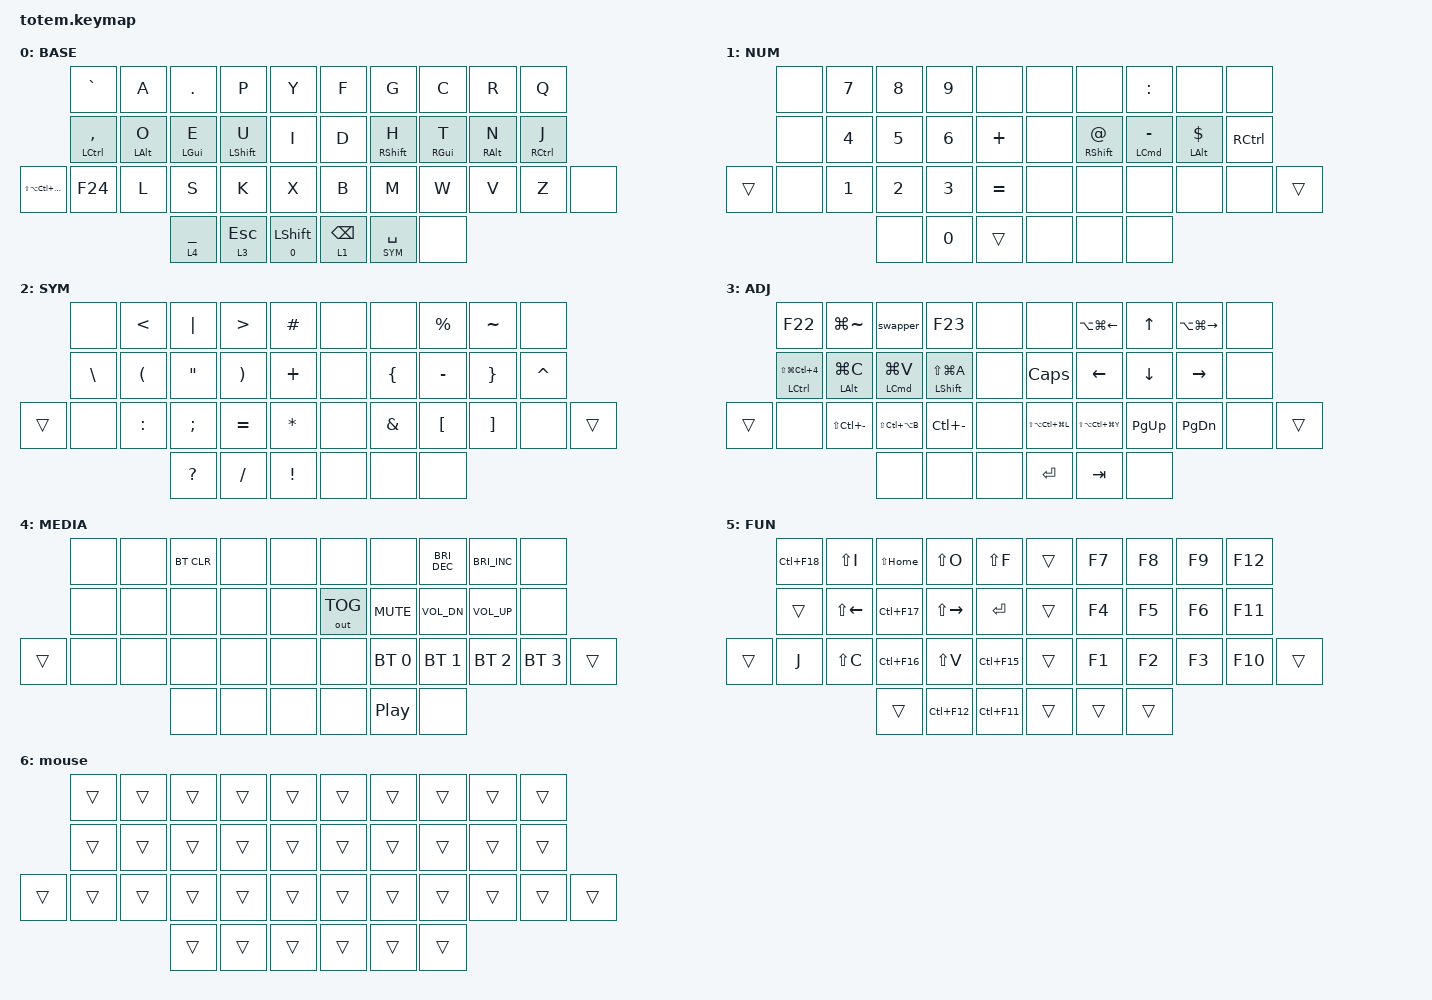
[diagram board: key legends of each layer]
//
//                                                        ▀▀▀▀▀     ▀▀▀▀▀          ▀▀█▀▀
//                                                        ▄▀▀▀▄  ▄  ▄▀▀▀▄  ▄  ▄▀▀▀▄  █  ▄▀▀▀▄
//                                                        █   █  █  █   █  █  █   █  █  █   █
//                                                         ▀▀▀   █   ▀▀▀   █   ▀▀▀   ▀   ▀▀▀
//                                                               █      ▄▄▄█▄▄▄    █   █  
//                                                               ▀      █  █  █     █▄█
//                                                             ▀▀▀▀▀    █  █  █      ▀
//                                                                      ▀  ▀  ▀
//
// ▄▄▄▄▄▄▄▄▄▄▄▄▄▄▄▄▄▄▄▄▄▄▄▄▄▄▄▄▄▄▄▄▄▄▄▄▄▄▄▄▄▄▄▄▄▄▄▄▄▄▄▄▄▄▄▄▄▄▄▄▄▄▄▄▄▄▄▄▄▄▄▄▄▄▄▄▄▄▄▄▄▄▄▄▄▄▄▄▄▄▄▄▄▄▄▄▄▄▄▄▄▄▄▄▄▄▄▄▄▄▄▄▄▄▄▄▄▄▄▄▄▄▄▄▄▄▄▄▄▄▄▄▄▄▄▄▄▄▄▄▄▄▄▄▄▄▄▄▄

#include <behaviors.dtsi>
#include <dt-bindings/zmk/bt.h>
#include <dt-bindings/zmk/keys.h>
#include <dt-bindings/zmk/outputs.h>

#define KEYS_L 0 1 2 3 4 10 11 12 13 14 20 21 22 23 24 25
#define KEYS_R 5 6 7 8 9 15 16 17 18 19 26 27 28 29 30 31
#define KEYS_T 32 33 34 35 36 37
#define SWAPPER_IGNORE_KEYS 16 18
#define HM_TAPPING_TERM 300
#define HM_TAPPING_TERM_FAST 200
#define BASE 0
#define NAV  1
#define SYM  2
#define ADJ  3
#define TVP1 4
#define TVP2 5

&mt {
    flavor = "tap-preferred";
    tapping-term-ms = <300>;
};

&sk {
    quick-release; // avoid double capsing when typing fast
};

/ {
    combos {
        compatible = "zmk,combos";

        combo_apostrophe {
            timeout-ms = <60>;
            key-positions = <1 2>;
            bindings = <&kp APOSTROPHE>;
        };
    };

    macros {
        gif: gif {
            label = "giphy";
            compatible = "zmk,behavior-macro";
            #binding-cells = <0>;
            bindings =
                <&macro_press>,
                <&kp LSHFT>,
                <&macro_tap>,
                <&kp N2>,
                <&macro_release>,
                <&kp LSHFT>,
                <&macro_tap>,
                <&kp G &kp I &kp F>;
        };
    };

    behaviors {
        // Positional Homerow mods
        // Homerow mods that prevent accidental activations when rolling keys,
        // such as when typing `st` or `ne` on colemak-dh layouts or `as` on
        // qwerty.
        //
        // Works by only allowing a mod to activate within tapping-term if
        // it's on the opposite side of the keyboard or on the same side thumb
        // keys.
        // Further optimization using urob's timerless homerow mods method:
        // https://github.com/urob/zmk-config#timeless-homerow-mods

        hm_l: homerow_mods_left {
            compatible = "zmk,behavior-hold-tap";
            label = "HOMEROW_MODS_LEFT";
            #binding-cells = <2>;
            bindings = <&kp>, <&kp>;

            flavor = "balanced";
            tapping-term-ms = <HM_TAPPING_TERM>;
            quick-tap-ms = <175>;                // repeat on tap-into-hold
            global-quick-tap; // instead of global-quick-tap-ms
            // global-quick-tap-ms = <150>;         // requires PR #1387

            hold-trigger-key-positions = <KEYS_R KEYS_T>;
            hold-trigger-on-release;
        };

        hm_r: homerow_mods_right {
            compatible = "zmk,behavior-hold-tap";
            label = "HOMEROW_MODS_RIGHT";
            #binding-cells = <2>;
            bindings = <&kp>, <&kp>;

            flavor = "balanced";
            tapping-term-ms = <HM_TAPPING_TERM>;
            quick_tap_ms = <175>;
            global-quick-tap; // instead of global-quick-tap-ms
            // global-quick-tap-ms = <150>;         // requires PR #1387

            hold-trigger-key-positions = <KEYS_L KEYS_T>;
            hold-trigger-on-release;
        };

        // Positional Homerow mods for shift
        // Use faster tapping term and disable some features that may
        // cause false negatives.

        hm_shift_l: hm_shift_l {
            compatible = "zmk,behavior-hold-tap";
            label = "HOMEROW_MODS_FAST_LEFT";
            #binding-cells = <2>;
            bindings = <&kp>, <&kp>;

            flavor = "balanced";
            tapping-term-ms = <HM_TAPPING_TERM_FAST>;
            quick_tap_ms = <175>;
            global-quick-tap; // instead of global-quick-tap-ms
            // global-quick-tap-ms = <150>;         // requires PR #1387

            hold-trigger-key-positions = <KEYS_R KEYS_T>;

            // hold-trigger-on-release;
        };

        hm_shift_r: hm_shift_r {
            compatible = "zmk,behavior-hold-tap";
            label = "HOMEROW_MODS_FAST_RIGHT";
            #binding-cells = <2>;
            bindings = <&kp>, <&kp>;

            flavor = "balanced";
            tapping-term-ms = <HM_TAPPING_TERM_FAST>;
            quick_tap_ms = <175>;
            global-quick-tap; // instead of global-quick-tap-ms
            // global-quick-tap-ms = <150>;         // requires PR #1387

            hold-trigger-key-positions = <KEYS_L KEYS_T>;

            // hold-trigger-on-release;
        };

        /*
         * Non-Positional Homerow Mods
         * Used for &mm_grescm_gui behavior on left hand.
         *
         * Usage: &hm LSHFT T
         * Tap: T
         * Tap-Tap-Hold: Repeat T
         * Hold: LSHIFT
         */

        hm: homerow_mods {
            compatible = "zmk,behavior-hold-tap";
            label = "HOMEROW_MODS";
            #binding-cells = <2>;
            bindings = <&kp>, <&kp>;

            flavor = "balanced";
            tapping-term-ms = <HM_TAPPING_TERM>;
            quick_tap_ms = <200>;
        };

        // Swapper for smart alt+tab

        swapper: swapper {
            compatible = "zmk,behavior-tri-state";
            label = "SWAPPER";
            #binding-cells = <0>;
            bindings = <&kt LGUI>, <&kp TAB>, <&kt LGUI>;

            ignored-key-positions = <16>, <18>;
        };

        // DK: Combining Hold Tap and Sticky Key to closely link my two Caps options
        // implement in the keymap like this: `&cappy LEFT_SHIFT 0`, with 0 being a dummy value passed into caps word

        cappy: cappy {
            compatible = "zmk,behavior-hold-tap";
            label = "CAPPY";
            #binding-cells = <2>;
            bindings = <&caps_word>, <&sk>;

            flavor = "balanced";
            tapping-term-ms = <HM_TAPPING_TERM>;
            quick_tap_ms = <200>;
            tapping-term-ms = <200>;
        };
    };

    keymap {
        compatible = "zmk,keymap";

        // ▄▄▄▄▄▄▄▄▄▄▄▄▄▄▄▄▄▄▄▄▄▄▄▄▄▄▄▄▄▄▄▄▄▄▄▄▄▄▄▄▄▄▄▄▄▄▄▄▄▄▄▄▄▄▄▄▄▄▄▄▄▄▄▄▄▄▄▄▄▄▄▄▄▄▄▄▄▄▄▄▄▄▄▄▄▄▄▄▄▄▄▄▄▄▄▄▄▄▄▄▄▄▄▄▄▄▄▄▄▄▄▄▄▄▄▄▄▄▄▄▄▄▄▄▄▄▄▄▄▄▄▄▄▄▄▄▄▄▄▄▄▄▄▄▄▄▄▄▄

        base_layer {
            // ┏━━━━━━━━━━━━━━━━━━━━━━━━━━━━━━━━━━━━━━━┓

            label = "BASE";

            // ┗━━━━━━━━━━━━━━━━━━━━━━━━━━━━━━━━━━━━━━━┛
            //             ┏━━━━━━━━━━━┳━━━━━━━━━━━┳━━━━━━━━━━━┳━━━━━━━━━━━┳━━━━━━━━━━━┓   ┏━━━━━━━━━━━┳━━━━━━━━━━━┳━━━━━━━━━━━┳━━━━━━━━━━━┳━━━━━━━━━━━┓
            //             ┃     Q     ┃     W     ┃     F     ┃     P     ┃     G     ┃   ┃     J     ┃     L     ┃     U     ┃     Y     ┃     ;     ┃
            //             ┣━━━━━━━━━━━╋━━━━━━━━━━━╋━━━━━━━━━━━╋━━━━━━━━━━━╋━━━━━━━━━━━┫   ┣━━━━━━━━━━━╋━━━━━━━━━━━╋━━━━━━━━━━━╋━━━━━━━━━━━╋━━━━━━━━━━━┫
            //             ┃     A     ┃     R     ┃     S     ┃     T     ┃     D     ┃   ┃     H     ┃     N     ┃     E     ┃     I     ┃     O     ┃
            // ┏━━━━━━━━━━━╋━━━━━━━━━━━╋━━━━━━━━━━━╋━━━━━━━━━━━╋━━━━━━━━━━━╋━━━━━━━━━━━┫   ┣━━━━━━━━━━━╋━━━━━━━━━━━╋━━━━━━━━━━━╋━━━━━━━━━━━╋━━━━━━━━━━━╋━━━━━━━━━━━┓
            // ┃     Q     ┃     Z     ┃     X     ┃     C     ┃     V     ┃     B     ┃   ┃     K     ┃     M     ┃     ,     ┃     .     ┃     /     ┃     \     ┃
            // ┗━━━━━━━━━━━┻━━━━━━━━━━━┻━━━━━━━━━━━╋━━━━━━━━━━━╋━━━━━━━━━━━╋━━━━━━━━━━━┫   ┣━━━━━━━━━━━╋━━━━━━━━━━━╋━━━━━━━━━━━╋━━━━━━━━━━━┻━━━━━━━━━━━┻━━━━━━━━━━━┛
            //                                     ┃    DEL    ┃    TAB    ┃    SPC    ┃   ┃   ENTER   ┃           ┃   BSPC    ┃
            //                                     ┗━━━━━━━━━━━┻━━━━━━━━━━━┻━━━━━━━━━━━┛   ┗━━━━━━━━━━━┻━━━━━━━━━━━┻━━━━━━━━━━━┛

            bindings = <
                       &kp GRAVE                 &kp A             &kp PERIOD        &kp P               &kp Y                         &kp F            &kp G                &kp C              &kp R              &kp Q
                       &hm_l LEFT_CONTROL COMMA  &hm_l LEFT_ALT O  &hm_l LEFT_GUI E  &hm_l LEFT_SHIFT U  &kp I                         &kp D            &hm_r RIGHT_SHIFT H  &hm_r RIGHT_GUI T  &hm_r RIGHT_ALT N  &hm_r RIGHT_CONTROL J
&kp LS(LA(LC(LG(M))))  &kp F24                   &kp L             &kp S             &kp K               &kp X                         &kp B            &kp M                &kp W              &kp V              &kp Z                  &none
                                                                   &lt 4 UNDERSCORE  &lt 3 ESCAPE        &cappy NUMBER_0 LEFT_SHIFT    &lt 1 BACKSPACE  &lt SYM SPACE        &none
            >;
        };

        // ▄▄▄▄▄▄▄▄▄▄▄▄▄▄▄▄▄▄▄▄▄▄▄▄▄▄▄▄▄▄▄▄▄▄▄▄▄▄▄▄▄▄▄▄▄▄▄▄▄▄▄▄▄▄▄▄▄▄▄▄▄▄▄▄▄▄▄▄▄▄▄▄▄▄▄▄▄▄▄▄▄▄▄▄▄▄▄▄▄▄▄▄▄▄▄▄▄▄▄▄▄▄▄▄▄▄▄▄▄▄▄▄▄▄▄▄▄▄▄▄▄▄▄▄▄▄▄▄▄▄▄▄▄▄▄▄▄▄▄▄▄▄▄▄▄▄▄▄▄

        num_layer {
            // ┏━━━━━━━━━━━━━━━━━━━━━━━━━━━━━━━━━━━━━━━┓

            label = "NUM";

            // ┗━━━━━━━━━━━━━━━━━━━━━━━━━━━━━━━━━━━━━━━┛
            //             ┏━━━━━━━━━━━┳━━━━━━━━━━━┳━━━━━━━━━━━┳━━━━━━━━━━━┳━━━━━━━━━━━┓   ┏━━━━━━━━━━━┳━━━━━━━━━━━┳━━━━━━━━━━━┳━━━━━━━━━━━┳━━━━━━━━━━━┓
            //             ┃           ┃           ┃     UP    ┃           ┃     {     ┃   ┃     }     ┃     7     ┃     8     ┃     9     ┃     +     ┃
            //             ┣━━━━━━━━━━━╋━━━━━━━━━━━╋━━━━━━━━━━━╋━━━━━━━━━━━╋━━━━━━━━━━━┫   ┣━━━━━━━━━━━╋━━━━━━━━━━━╋━━━━━━━━━━━╋━━━━━━━━━━━╋━━━━━━━━━━━┫
            //             ┃   SHIFT   ┃   LEFT    ┃    DOWN   ┃   RIGHT   ┃     [     ┃   ┃     ]     ┃     4     ┃     5     ┃     6     ┃     -     ┃
            // ┏━━━━━━━━━━━╋━━━━━━━━━━━╋━━━━━━━━━━━╋━━━━━━━━━━━╋━━━━━━━━━━━╋━━━━━━━━━━━┫   ┣━━━━━━━━━━━╋━━━━━━━━━━━╋━━━━━━━━━━━╋━━━━━━━━━━━╋━━━━━━━━━━━╋━━━━━━━━━━━┓
            // ┃           ┃           ┃   P UP    ┃  C LOCK   ┃  P DOWN   ┃     (     ┃   ┃     )     ┃     1     ┃     2     ┃     3     ┃     *     ┃           ┃
            // ┗━━━━━━━━━━━┻━━━━━━━━━━━┻━━━━━━━━━━━╋━━━━━━━━━━━╋━━━━━━━━━━━╋━━━━━━━━━━━┫   ┣━━━━━━━━━━━╋━━━━━━━━━━━╋━━━━━━━━━━━╋━━━━━━━━━━━┻━━━━━━━━━━━┻━━━━━━━━━━━┛
            //                                     ┃           ┃    TAB    ┃    SPC    ┃   ┃    DEL    ┃     0     ┃           ┃
            //                                     ┗━━━━━━━━━━━┻━━━━━━━━━━━┻━━━━━━━━━━━┛   ┗━━━━━━━━━━━┻━━━━━━━━━━━┻━━━━━━━━━━━┛

            bindings = <
        &none  &kp NUMBER_7  &kp NUMBER_8  &kp NUMBER_9  &none        &none  &none                 &kp COLON                 &none                  &none
        &none  &kp NUMBER_4  &kp N5        &kp NUMBER_6  &kp PLUS     &none  &hm_r RIGHT_SHIFT AT  &hm_r LEFT_COMMAND MINUS  &hm_r LEFT_ALT DOLLAR  &kp RIGHT_CONTROL
&trans  &none  &kp NUMBER_1  &kp NUMBER_2  &kp NUMBER_3  &kp EQUAL    &none  &none                 &none                     &none                  &none              &trans
                             &none         &kp NUMBER_0  &trans       &none  &none                 &none
            >;
        };

        // ▄▄▄▄▄▄▄▄▄▄▄▄▄▄▄▄▄▄▄▄▄▄▄▄▄▄▄▄▄▄▄▄▄▄▄▄▄▄▄▄▄▄▄▄▄▄▄▄▄▄▄▄▄▄▄▄▄▄▄▄▄▄▄▄▄▄▄▄▄▄▄▄▄▄▄▄▄▄▄▄▄▄▄▄▄▄▄▄▄▄▄▄▄▄▄▄▄▄▄▄▄▄▄▄▄▄▄▄▄▄▄▄▄▄▄▄▄▄▄▄▄▄▄▄▄▄▄▄▄▄▄▄▄▄▄▄▄▄▄▄▄▄▄▄▄▄▄▄▄

        sim_layer {
            // ┏━━━━━━━━━━━━━━━━━━━━━━━━━━━━━━━━━━━━━━━┓

            label = "SYM";

            // ┗━━━━━━━━━━━━━━━━━━━━━━━━━━━━━━━━━━━━━━━┛
            //             ┏━━━━━━━━━━━┳━━━━━━━━━━━┳━━━━━━━━━━━┳━━━━━━━━━━━┳━━━━━━━━━━━┓   ┏━━━━━━━━━━━┳━━━━━━━━━━━┳━━━━━━━━━━━┳━━━━━━━━━━━┳━━━━━━━━━━━┓
            //             ┃     !     ┃     @     ┃     #     ┃     $     ┃     %     ┃   ┃     ˆ     ┃     &     ┃     Ü     ┃     '     ┃     "     ┃
            //             ┣━━━━━━━━━━━╋━━━━━━━━━━━╋━━━━━━━━━━━╋━━━━━━━━━━━╋━━━━━━━━━━━┫   ┣━━━━━━━━━━━╋━━━━━━━━━━━╋━━━━━━━━━━━╋━━━━━━━━━━━╋━━━━━━━━━━━┫
            //             ┃     Ä     ┃           ┃    SZ     ┃           ┃           ┃   ┃   MUTE    ┃   YEN     ┃   EURO    ┃  POUND    ┃     Ö     ┃
            // ┏━━━━━━━━━━━╋━━━━━━━━━━━╋━━━━━━━━━━━╋━━━━━━━━━━━╋━━━━━━━━━━━╋━━━━━━━━━━━┫   ┣━━━━━━━━━━━╋━━━━━━━━━━━╋━━━━━━━━━━━╋━━━━━━━━━━━╋━━━━━━━━━━━╋━━━━━━━━━━━┓
            // ┃           ┃  EMAIL1   ┃  EMAIL2   ┃           ┃           ┃           ┃   ┃   VOL-    ┃   VOL+    ┃   LAST    ┃   NEXT    ┃     \     ┃           ┃
            // ┗━━━━━━━━━━━┻━━━━━━━━━━━┻━━━━━━━━━━━╋━━━━━━━━━━━╋━━━━━━━━━━━╋━━━━━━━━━━━┫   ┣━━━━━━━━━━━╋━━━━━━━━━━━╋━━━━━━━━━━━╋━━━━━━━━━━━┻━━━━━━━━━━━┻━━━━━━━━━━━┛
            //                                     ┃           ┃    GIF    ┃    ADJ    ┃   ┃           ┃           ┃           ┃
            //                                     ┗━━━━━━━━━━━┻━━━━━━━━━━━┻━━━━━━━━━━━┛   ┗━━━━━━━━━━━┻━━━━━━━━━━━┻━━━━━━━━━━━┛

            bindings = <
        &none          &kp LESS_THAN         &kp PIPE           &kp GREATER_THAN       &kp POUND       &none  &none           &kp PERCENT       &kp TILDE          &none
        &kp BACKSLASH  &kp LEFT_PARENTHESIS  &kp DOUBLE_QUOTES  &kp RIGHT_PARENTHESIS  &kp PLUS        &none  &kp LEFT_BRACE  &kp MINUS         &kp RIGHT_BRACE    &kp CARET
&trans  &none          &kp COLON             &kp SEMICOLON      &kp EQUAL              &kp ASTERISK    &none  &kp AMPERSAND   &kp LEFT_BRACKET  &kp RIGHT_BRACKET  &none      &trans
                                             &kp QUESTION       &kp SLASH              &kp EXCL        &none  &none           &none
            >;
        };

        // ▄▄▄▄▄▄▄▄▄▄▄▄▄▄▄▄▄▄▄▄▄▄▄▄▄▄▄▄▄▄▄▄▄▄▄▄▄▄▄▄▄▄▄▄▄▄▄▄▄▄▄▄▄▄▄▄▄▄▄▄▄▄▄▄▄▄▄▄▄▄▄▄▄▄▄▄▄▄▄▄▄▄▄▄▄▄▄▄▄▄▄▄▄▄▄▄▄▄▄▄▄▄▄▄▄▄▄▄▄▄▄▄▄▄▄▄▄▄▄▄▄▄▄▄▄▄▄▄▄▄▄▄▄▄▄▄▄▄▄▄▄▄▄▄▄▄▄▄▄

        nav_layer {
            // ┏━━━━━━━━━━━━━━━━━━━━━━━━━━━━━━━━━━━━━━━┓

            label = "ADJ";

            // ┗━━━━━━━━━━━━━━━━━━━━━━━━━━━━━━━━━━━━━━━┛
            //             ┏━━━━━━━━━━━┳━━━━━━━━━━━┳━━━━━━━━━━━┳━━━━━━━━━━━┳━━━━━━━━━━━┓   ┏━━━━━━━━━━━┳━━━━━━━━━━━┳━━━━━━━━━━━┳━━━━━━━━━━━┳━━━━━━━━━━━┓
            //             ┃   RESET   ┃ BT CLEAR  ┃  OUT TOG  ┃           ┃           ┃   ┃           ┃    F7     ┃    F8     ┃    F9     ┃    F12    ┃
            //             ┣━━━━━━━━━━━╋━━━━━━━━━━━╋━━━━━━━━━━━╋━━━━━━━━━━━╋━━━━━━━━━━━┫   ┣━━━━━━━━━━━╋━━━━━━━━━━━╋━━━━━━━━━━━╋━━━━━━━━━━━╋━━━━━━━━━━━┫
            //             ┃ BOOTLOAD  ┃ BT NEXT   ┃           ┃           ┃           ┃   ┃           ┃    F4     ┃    F5     ┃    F6     ┃    F11    ┃
            // ┏━━━━━━━━━━━╋━━━━━━━━━━━╋━━━━━━━━━━━╋━━━━━━━━━━━╋━━━━━━━━━━━╋━━━━━━━━━━━┫   ┣━━━━━━━━━━━╋━━━━━━━━━━━╋━━━━━━━━━━━╋━━━━━━━━━━━╋━━━━━━━━━━━╋━━━━━━━━━━━┓
            // ┃           ┃           ┃ BT PREV   ┃           ┃           ┃           ┃   ┃           ┃    F1     ┃    F2     ┃    F3     ┃    F10    ┃           ┃
            // ┗━━━━━━━━━━━┻━━━━━━━━━━━┻━━━━━━━━━━━╋━━━━━━━━━━━╋━━━━━━━━━━━╋━━━━━━━━━━━┫   ┣━━━━━━━━━━━╋━━━━━━━━━━━╋━━━━━━━━━━━╋━━━━━━━━━━━┻━━━━━━━━━━━┻━━━━━━━━━━━┛
            //                                     ┃           ┃           ┃           ┃   ┃           ┃           ┃           ┃
            //                                     ┗━━━━━━━━━━━┻━━━━━━━━━━━┻━━━━━━━━━━━┛   ┗━━━━━━━━━━━┻━━━━━━━━━━━┻━━━━━━━━━━━┛

            bindings = <
        &kp F22                                  &kp LG(TILDE)         &swapper                  &kp F23                     &none    &none                  &kp LA(LG(LEFT_ARROW))  &kp UP       &kp LA(LG(RIGHT_ARROW))  &none
        &hm_l LEFT_CONTROL LS(LG(LC(NUMBER_4)))  &hm_l LEFT_ALT LG(C)  &hm_l LEFT_COMMAND LG(V)  &hm_l LEFT_SHIFT LS(LG(A))  &none    &kp CAPSLOCK           &kp LEFT                &kp DOWN     &kp RIGHT                &none
&trans  &none                                    &kp LS(LC(MINUS))     &kp LS(LC(LA(B)))         &kp LC(MINUS)               &none    &kp LS(LA(LC(LG(L))))  &kp LS(LA(LC(LG(Y))))   &kp PAGE_UP  &kp PAGE_DOWN            &none  &trans
                                                                       &none                     &none                       &none    &kp ENTER              &kp TAB                 &none
            >;
        };

        // ▄▄▄▄▄▄▄▄▄▄▄▄▄▄▄▄▄▄▄▄▄▄▄▄▄▄▄▄▄▄▄▄▄▄▄▄▄▄▄▄▄▄▄▄▄▄▄▄▄▄▄▄▄▄▄▄▄▄▄▄▄▄▄▄▄▄▄▄▄▄▄▄▄▄▄▄▄▄▄▄▄▄▄▄▄▄▄▄▄▄▄▄▄▄▄▄▄▄▄▄▄▄▄▄▄▄▄▄▄▄▄▄▄▄▄▄▄▄▄▄▄▄▄▄▄▄▄▄▄▄▄▄▄▄▄▄▄▄▄▄▄▄▄▄▄▄▄▄▄

        media_layer {
            // ┏━━━━━━━━━━━━━━━━━━━━━━━━━━━━━━━━━━━━━━━┓

            label = "MEDIA";

            // ┗━━━━━━━━━━━━━━━━━━━━━━━━━━━━━━━━━━━━━━━┛
            //             ┏━━━━━━━━━━━┳━━━━━━━━━━━┳━━━━━━━━━━━┳━━━━━━━━━━━┳━━━━━━━━━━━┓   ┏━━━━━━━━━━━┳━━━━━━━━━━━┳━━━━━━━━━━━┳━━━━━━━━━━━┳━━━━━━━━━━━┓
            //             ┃ NEXT FILE ┃ MARK IN   ┃ ROTATE    ┃ MARK OUT  ┃ SHOW SNAP ┃   ┃           ┃           ┃           ┃           ┃           ┃
            //             ┣━━━━━━━━━━━╋━━━━━━━━━━━╋━━━━━━━━━━━╋━━━━━━━━━━━╋━━━━━━━━━━━┫   ┣━━━━━━━━━━━╋━━━━━━━━━━━╋━━━━━━━━━━━╋━━━━━━━━━━━╋━━━━━━━━━━━┫
            //             ┃ TVP II    ┃ LEFT      ┃ PAN       ┃ RIGHT     ┃ PLAY/FLIP ┃   ┃           ┃           ┃           ┃           ┃           ┃
            // ┏━━━━━━━━━━━╋━━━━━━━━━━━╋━━━━━━━━━━━╋━━━━━━━━━━━╋━━━━━━━━━━━╋━━━━━━━━━━━┫   ┣━━━━━━━━━━━╋━━━━━━━━━━━╋━━━━━━━━━━━╋━━━━━━━━━━━╋━━━━━━━━━━━╋━━━━━━━━━━━┓
            // ┃ FULLSCR   ┃ SHIFT     ┃ COPY      ┃ DELETE    ┃ PASTE     ┃ IMG MARK  ┃   ┃           ┃           ┃           ┃           ┃           ┃           ┃
            // ┗━━━━━━━━━━━┻━━━━━━━━━━━┻━━━━━━━━━━━╋━━━━━━━━━━━╋━━━━━━━━━━━╋━━━━━━━━━━━┫   ┣━━━━━━━━━━━╋━━━━━━━━━━━╋━━━━━━━━━━━╋━━━━━━━━━━━┻━━━━━━━━━━━┻━━━━━━━━━━━┛
            //                                     ┃           ┃ UNDO/SAVE ┃  SEL/MOV  ┃   ┃           ┃           ┃           ┃
            //                                     ┗━━━━━━━━━━━┻━━━━━━━━━━━┻━━━━━━━━━━━┛   ┗━━━━━━━━━━━┻━━━━━━━━━━━┻━━━━━━━━━━━┛

            bindings = <
        &none  &none  &bt BT_CLR  &none  &none    &none         &none             &kp C_BRIGHTNESS_DEC  &kp C_BRIGHTNESS_INC  &none
        &none  &none  &none       &none  &none    &out OUT_TOG  &kp K_MUTE        &kp C_VOL_DN          &kp C_VOL_UP          &none
&trans  &none  &none  &none       &none  &none    &none         &bt BT_SEL 0      &bt BT_SEL 1          &bt BT_SEL 2          &bt BT_SEL 3  &trans
                      &none       &none  &none    &none         &kp C_PLAY_PAUSE  &none
            >;
        };

        // ▄▄▄▄▄▄▄▄▄▄▄▄▄▄▄▄▄▄▄▄▄▄▄▄▄▄▄▄▄▄▄▄▄▄▄▄▄▄▄▄▄▄▄▄▄▄▄▄▄▄▄▄▄▄▄▄▄▄▄▄▄▄▄▄▄▄▄▄▄▄▄▄▄▄▄▄▄▄▄▄▄▄▄▄▄▄▄▄▄▄▄▄▄▄▄▄▄▄▄▄▄▄▄▄▄▄▄▄▄▄▄▄▄▄▄▄▄▄▄▄▄▄▄▄▄▄▄▄▄▄▄▄▄▄▄▄▄▄▄▄▄▄▄▄▄▄▄▄▄

        fn_layer {
            // ┏━━━━━━━━━━━━━━━━━━━━━━━━━━━━━━━━━━━━━━━┓

            label = "FUN";

            // ┗━━━━━━━━━━━━━━━━━━━━━━━━━━━━━━━━━━━━━━━┛
            //             ┏━━━━━━━━━━━┳━━━━━━━━━━━┳━━━━━━━━━━━┳━━━━━━━━━━━┳━━━━━━━━━━━┓   ┏━━━━━━━━━━━┳━━━━━━━━━━━┳━━━━━━━━━━━┳━━━━━━━━━━━┳━━━━━━━━━━━┓
            //             ┃ SOLO      ┃ TOGGLE IN ┃ RESET ROT ┃ TOGGLE OUT┃ TAKE SNAP ┃   ┃           ┃           ┃           ┃           ┃           ┃
            //             ┣━━━━━━━━━━━╋━━━━━━━━━━━╋━━━━━━━━━━━╋━━━━━━━━━━━╋━━━━━━━━━━━┫   ┣━━━━━━━━━━━╋━━━━━━━━━━━╋━━━━━━━━━━━╋━━━━━━━━━━━╋━━━━━━━━━━━┫
            //             ┃ ---       ┃ LAST KEY  ┃ NEW KEY   ┃ NEXT KEY  ┃ ENTER     ┃   ┃           ┃           ┃           ┃           ┃           ┃
            // ┏━━━━━━━━━━━╋━━━━━━━━━━━╋━━━━━━━━━━━╋━━━━━━━━━━━╋━━━━━━━━━━━╋━━━━━━━━━━━┫   ┣━━━━━━━━━━━╋━━━━━━━━━━━╋━━━━━━━━━━━╋━━━━━━━━━━━╋━━━━━━━━━━━╋━━━━━━━━━━━┓
            // ┃           ┃ FULLSCR   ┃ CPY2BRUSH ┃ DEL HEAD  ┃ PSTinPLACE┃ BOOK MARK ┃   ┃           ┃           ┃           ┃           ┃           ┃           ┃
            // ┗━━━━━━━━━━━┻━━━━━━━━━━━┻━━━━━━━━━━━╋━━━━━━━━━━━╋━━━━━━━━━━━╋━━━━━━━━━━━┫   ┣━━━━━━━━━━━╋━━━━━━━━━━━╋━━━━━━━━━━━╋━━━━━━━━━━━┻━━━━━━━━━━━┻━━━━━━━━━━━┛
            //                                     ┃           ┃ REDO/SAV1 ┃TRANS/WARP ┃   ┃           ┃           ┃           ┃
            //                                     ┗━━━━━━━━━━━┻━━━━━━━━━━━┻━━━━━━━━━━━┛   ┗━━━━━━━━━━━┻━━━━━━━━━━━┻━━━━━━━━━━━┛

            bindings = <
        &kp LC(F18)  &kp LS(I)     &kp LS(HOME)  &kp LS(O)      &kp LS(F)      &trans  &kp F7  &kp F8  &kp F9  &kp F12
        &trans       &kp LS(LEFT)  &kp LC(F17)   &kp LS(RIGHT)  &kp RET        &trans  &kp F4  &kp F5  &kp F6  &kp F11
&trans  &kp J        &kp LS(C)     &kp LC(F16)   &kp LS(V)      &kp LC(F15)    &trans  &kp F1  &kp F2  &kp F3  &kp F10  &trans
                                   &trans        &kp LC(F12)    &kp LC(F11)    &trans  &trans  &trans
            >;
        };

        mouse {
            bindings = <
        &trans  &trans  &trans  &trans  &trans    &trans  &trans  &trans  &trans  &trans
        &trans  &trans  &trans  &trans  &trans    &trans  &trans  &trans  &trans  &trans
&trans  &trans  &trans  &trans  &trans  &trans    &trans  &trans  &trans  &trans  &trans  &trans
                        &trans  &trans  &trans    &trans  &trans  &trans
            >;
        };
    };
};
